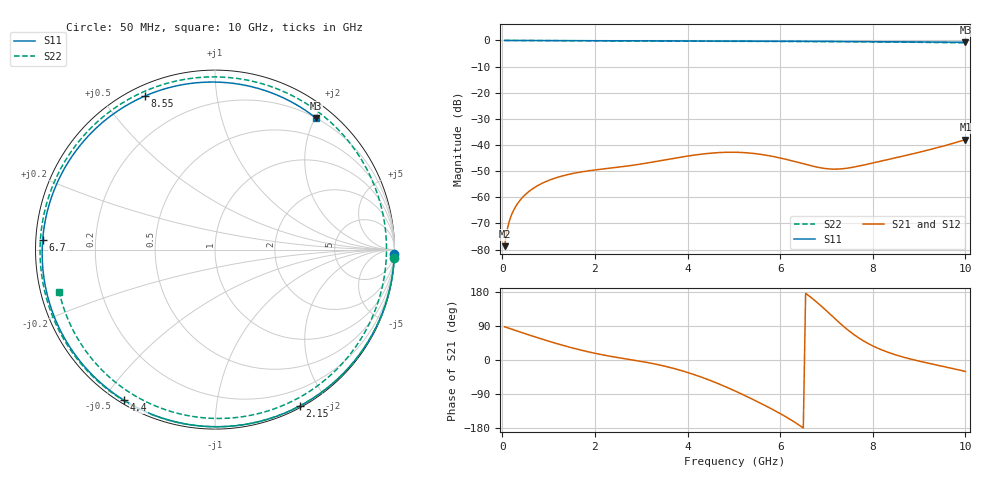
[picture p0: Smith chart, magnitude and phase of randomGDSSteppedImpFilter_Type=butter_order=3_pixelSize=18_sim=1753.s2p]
! freq	dB(S11)	phase(S11)	dB(S12)	phase(S12)
!  dB(S21)	phase(S21)	dB(S22)	phase(S22)
!S-par simulation data
#  GHz  S  DB  R 50
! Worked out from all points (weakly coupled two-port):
!   200 points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, 50 MHz to 10 GHz, reference 50 ohm
!   highest |S21| = -37.93 dB at 10 GHz (marker M1); lowest = -78.7 dB at 50 MHz (marker M2)
!   lowest |S11| = -0.7 dB at 10 GHz (marker M3), VSWR 25.29, Z = 10 + j100 ohm
!   |S11| at or under -10 dB: nowhere
!   |S22| runs from -0.9 to 0.0 dB; largest |S21 - S12| = 0
!   S11 on the Smith chart (normalised r, x): 50 MHz: 0, -77; 2.15 GHz: 0.02, -1.68; 4.4 GHz: 0.01, -0.56; 6.7 GHz: 0.02, +0.03; 8.55 GHz: 0.04, +0.64; 10 GHz: 0.20, +2.01
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0.05  -0.00 -1.5  -78.70 87.7  -78.70 87.7  -0.00 -2.7
0.1  -0.00 -3.0  -72.68 85.7  -72.68 85.7  -0.01 -5.5
0.2  -0.01 -5.9  -66.68 81.6  -66.68 81.6  -0.01 -10.9
0.5  -0.02 -14.7  -58.92 69.2  -58.92 69.2  -0.03 -27.1
1.15  -0.04 -33.5  -52.59 44.3  -52.59 44.3  -0.08 -61.8
1.75  -0.06 -50.5  -50.16 24.6  -50.16 24.6  -0.12 -93.4
2.15  -0.08 -61.6  -49.21 14.0  -49.21 14.0  -0.14 -114.5
2.85  -0.10 -80.6  -47.66 -0.7  -47.66 -0.7  -0.18 -152.2
3.4  -0.12 -95.1  -46.04 -13.3  -46.04 -13.3  -0.23 176.5
3.9  -0.14 -108.2  -44.50 -29.1  -44.50 -29.1  -0.27 146.0
4.4  -0.17 -121.1  -43.30 -49.7  -43.30 -49.7  -0.31 113.3
4.75  -0.19 -130.2  -42.83 -66.8  -42.83 -66.8  -0.33 89.4
5.05  -0.21 -138.0  -42.78 -83.1  -42.78 -83.1  -0.35 68.6
5.45  -0.24 -148.5  -43.27 -106.4  -43.27 -106.4  -0.37 41.2
5.85  -0.27 -159.2  -44.39 -131.3  -44.39 -131.3  -0.39 15.1
6.25  -0.30 -170.3  -46.01 -159.2  -46.01 -159.2  -0.40 -9.3
6.7  -0.34 176.8  -48.07 161.8  -48.07 161.8  -0.42 -34.1
7.5  -0.42 152.0  -48.72 75.6  -48.72 75.6  -0.48 -71.9
8.35  -0.51 122.2  -45.47 19.4  -45.47 19.4  -0.59 -105.7
8.55  -0.53 114.5  -44.66 11.5  -44.66 11.5  -0.62 -113.1
9.3  -0.61 83.7  -41.45 -11.2  -41.45 -11.2  -0.76 -139.7
10  -0.69 52.6  -37.93 -30.3  -37.93 -30.3  -0.92 -164.8
